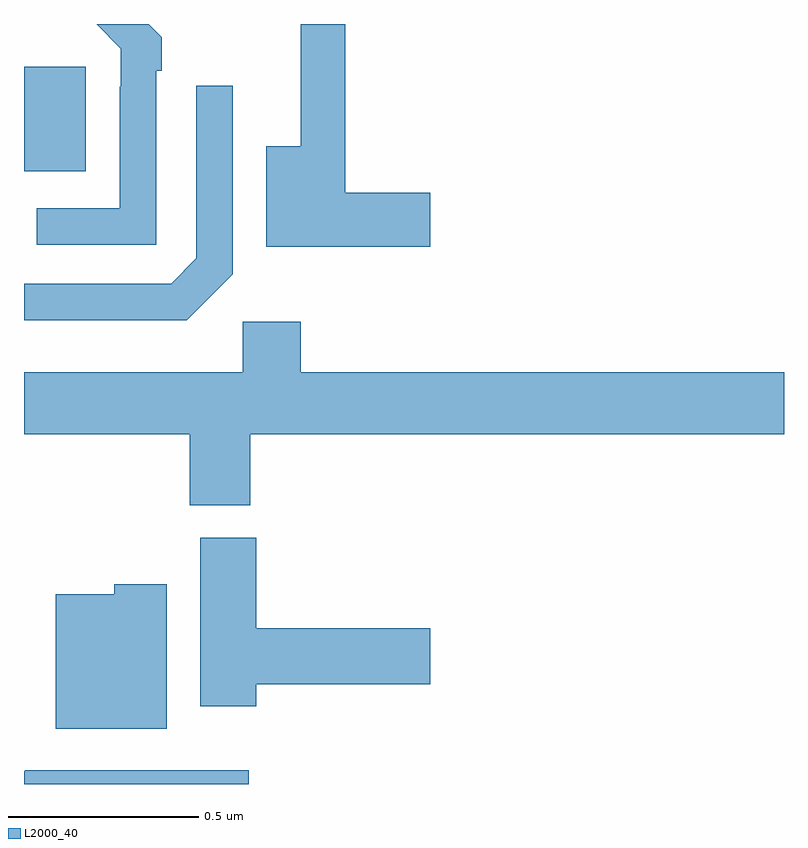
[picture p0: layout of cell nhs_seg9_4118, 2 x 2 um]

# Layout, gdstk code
import gdstk
lib = gdstk.Library(unit=1e-6, precision=1e-09)
def R(c, l, rs):  # rectangles x0, y0, x1, y1
    for r in rs: c.add(gdstk.rectangle(r[:2], r[2:], *l))
def P(c, l, *ps):  # polygons
    for p in ps: c.add(gdstk.Polygon(p, *l))
L2000_40 = (2000, 40)

nhs_seg9_4118 = lib.new_cell('nhs_seg9_4118')
R(nhs_seg9_4118, L2000_40, [(162,1197.113,162.163,1197.388)])
P(nhs_seg9_4118, L2000_40, [(162.348,1197.377),(162.363,1197.377),(162.363,1197.465),(162.328,1197.5),(162.191,1197.5),(162.255,1197.435),(162.255,1197.335),(162.252,1197.335),(162.252,1197.015),(162.033,1197.015),(162.033,1196.919),(162.348,1196.919)],
  [(163.069,1197.056),(162.845,1197.056),(162.845,1197.5),(162.728,1197.5),(162.728,1197.178),(162.638,1197.178),(162.638,1196.914),(163.069,1196.914)],
  [(162.549,1196.841),(162.549,1197.337),(162.453,1197.337),(162.453,1196.883),(162.387,1196.817),(162,1196.817),(162,1196.72),(162.428,1196.72)],
  [(162.596,1196.42),(164,1196.42),(164,1196.584),(162.728,1196.584),(162.728,1196.716),(162.576,1196.716),(162.576,1196.584),(162,1196.584),(162,1196.42),(162.436,1196.42),(162.436,1196.233),(162.596,1196.233)],
  [(162.611,1195.763),(163.069,1195.763),(163.069,1195.91),(162.611,1195.91),(162.611,1196.148),(162.464,1196.148),(162.464,1195.704),(162.611,1195.704)],
  [(162.376,1196.026),(162.237,1196.026),(162.237,1195.999),(162.083,1195.999),(162.083,1195.646),(162.376,1195.646)],
  [(162.592,1195.536),(162.003,1195.536),(162,1195.533),(162,1195.5),(162.592,1195.5)])

lib.write_gds('nhs_seg9_4118.gds')
